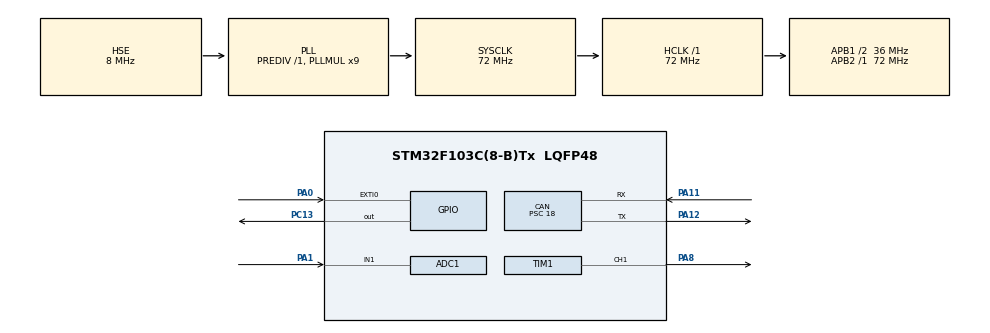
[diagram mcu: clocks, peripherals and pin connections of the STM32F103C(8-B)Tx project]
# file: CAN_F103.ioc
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ADC1.Channel-0\#ChannelRegularConversion=ADC_CHANNEL_1
ADC1.ContinuousConvMode=ENABLE
ADC1.NbrOfConversionFlag=1
ADC1.Rank-0\#ChannelRegularConversion=1
ADC1.SamplingTime-0\#ChannelRegularConversion=ADC_SAMPLETIME_1CYCLE_5
ADC1.master=1
CAN.BS1=CAN_BS1_5TQ
CAN.BS2=CAN_BS2_2TQ
CAN.CalculateBaudRate=250000
CAN.CalculateTimeBit=4000
CAN.CalculateTimeQuantum=500.0
CAN.Prescaler=18
Mcu.Family=STM32F1
Mcu.Name=STM32F103C(8-B)Tx
Mcu.Package=LQFP48
NVIC.EXTI0_IRQn=true\:0\:0\:false\:false\:true\:true\:true\:true
NVIC.PriorityGroup=NVIC_PRIORITYGROUP_0
NVIC.USB_LP_CAN1_RX0_IRQn=true\:0\:1\:false\:false\:true\:true\:true\:true
PA0-WKUP.Signal=GPXTI0
PA1.Signal=ADCx_IN1
PA11.Mode=CAN_Activate
PA11.Signal=CAN_RX
PA12.Mode=CAN_Activate
PA12.Signal=CAN_TX
PA13.Mode=Serial_Wire
PA13.Signal=SYS_JTMS-SWDIO
PA14.Mode=Serial_Wire
PA14.Signal=SYS_JTCK-SWCLK
PA8.Signal=S_TIM1_CH1
PC13-TAMPER-RTC.Signal=GPIO_Output
PD0-OSC_IN.Mode=HSE-External-Oscillator
PD0-OSC_IN.Signal=RCC_OSC_IN
PD1-OSC_OUT.Mode=HSE-External-Oscillator
PD1-OSC_OUT.Signal=RCC_OSC_OUT
ProjectManager.HeapSize=0x200
ProjectManager.StackSize=0x400
ProjectManager.TargetToolchain=STM32CubeIDE
RCC.AHBFreq_Value=72000000
RCC.APB1CLKDivider=RCC_HCLK_DIV2
RCC.APB1Freq_Value=36000000
RCC.APB1TimFreq_Value=72000000
RCC.APB2Freq_Value=72000000
RCC.APB2TimFreq_Value=72000000
RCC.HCLKFreq_Value=72000000
RCC.PLLMUL=RCC_PLL_MUL9
RCC.PLLSourceVirtual=RCC_PLLSOURCE_HSE
RCC.SYSCLKFreq_VALUE=72000000
RCC.SYSCLKSource=RCC_SYSCLKSOURCE_PLLCLK
RCC.USBFreq_Value=72000000
SH.ADCx_IN1.0=ADC1_IN1,IN1
SH.S_TIM1_CH1.0=TIM1_CH1,PWM Generation1 CH1
TIM1.Channel-PWM\ Generation1\ CH1=TIM_CHANNEL_1
TIM1.Period=999
TIM1.Prescaler=71
board=custom

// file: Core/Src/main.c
/* USER CODE BEGIN Header */
/**
  ******************************************************************************
  * @file           : main.c
  * @brief          : Main program body
  ******************************************************************************
  * @attention
  *
  * Copyright (c) 2024 STMicroelectronics.
  * All rights reserved.
  *
  * This software is licensed under terms that can be found in the LICENSE file
  * in the root directory of this software component.
  * If no LICENSE file comes with this software, it is provided AS-IS.
  *
  ******************************************************************************
  */
/* USER CODE END Header */
#include "main.h"

ADC_HandleTypeDef hadc1;

CAN_HandleTypeDef hcan;

TIM_HandleTypeDef htim1;

/* USER CODE BEGIN PV */

CAN_TxHeaderTypeDef pTXHeader;
CAN_RxHeaderTypeDef pRXHeader;
CAN_FilterTypeDef sfilterconfig;
uint32_t pTxMailbox;
uint8_t count;
uint16_t rcount;
uint8_t adc_value[1]={0};
uint8_t deger=0;
int durum;
int durum2;

uint16_t adcValue = 0;
uint8_t adcValueHigh = 0;
uint8_t adcValueLow = 0;
uint8_t data[8]; // CAN mesajı veri alanı
/* USER CODE END PV */

void SystemClock_Config(void);
static void MX_GPIO_Init(void);
static void MX_CAN_Init(void);
static void MX_ADC1_Init(void);
static void MX_TIM1_Init(void);

/* USER CODE BEGIN 0 */
void Set_PWM_Duty(uint16_t duty) {
    // 0-255 arası gelen duty değerini 0-999 arası bir değere dönüştür
    uint16_t pulse_length = ((uint32_t)duty * 1000) / 4095; //1khz lik ve 12 bit adc olduğu için pwm değerini ayarlıyor
    TIM1->CCR1 = pulse_length; //değer setlendi
}
/* USER CODE END 0 */

int main(void)
{

  /* MCU Configuration--------------------------------------------------------*/

  /* Reset of all peripherals, Initializes the Flash interface and the Systick. */
  HAL_Init();

  /* Configure the system clock */
  SystemClock_Config();

  /* Initialize all configured peripherals */
  MX_GPIO_Init();
  MX_CAN_Init();
  MX_ADC1_Init();
  MX_TIM1_Init();
  /* USER CODE BEGIN 2 */

	HAL_GPIO_WritePin(GPIOC, GPIO_PIN_13, 1);

  //Can baslatildi
  HAL_CAN_Start(&hcan);
  //interrupt için aktif edilme
  HAL_CAN_ActivateNotification(&hcan, CAN_IT_RX_FIFO0_MSG_PENDING); //mesaj geldi mesaj bekleniyor

  pTXHeader.DLC=1;
  pTXHeader.IDE=CAN_ID_STD;
  pTXHeader.RTR=CAN_RTR_DATA;
  pTXHeader.StdId=0x0155;

  sfilterconfig.FilterActivation=ENABLE;
  sfilterconfig.FilterBank=0;
  sfilterconfig.FilterFIFOAssignment=CAN_FILTER_FIFO0;
  sfilterconfig.FilterIdHigh=0x0000;
  sfilterconfig.FilterIdLow=0x0000;
  sfilterconfig.FilterMaskIdHigh=0x0000;
  sfilterconfig.FilterMaskIdLow=0x0000;
  sfilterconfig.FilterMode=CAN_FILTERMODE_IDMASK;
  sfilterconfig.FilterScale=CAN_FILTERSCALE_32BIT;

  HAL_CAN_ConfigFilter(&hcan, &sfilterconfig);
  HAL_TIM_PWM_Start(&htim1, TIM_CHANNEL_1);

  /* USER CODE END 2 */

  /* Infinite loop */
  while (1)
  {

    /* USER CODE BEGIN 3 */
	// HAL_ADC_Start(&hadc1);
 //deger =(uint8_t)(HAL_ADC_GetValue(&hadc1));
	  // ADC değerini okuyun
	  //adcValue = HAL_ADC_GetValue(&hadc1);

	  // 12 bitlik ADC değerini iki 8 bitlik parçaya bölün
	 // adcValueHigh = (adcValue >> 4) & 0xFF; // Yüksek 8 bit 12 bitlik veriyi 8 ve 4 bit paketliyor
	  //adcValueLow = (adcValue & 0x0F) << 4;  // Düşük 4 bit

	  //data[0] = adcValueHigh; //gönderilmesi için değerleri dizide tutuyor
	 // data[1] = adcValueLow;

     // HAL_CAN_AddTxMessage(&hcan, &pTXHeader, data, &pTxMailbox); //bu iki değeri gönderiyor
	  adcValueHigh = data[0]; //okunan data değerleri 8 ve 4 bit olarak toplam 12 bit oluyor
	  adcValueLow = data[1];

	 // 12 bitlik ADC değerini yeniden oluşturun
	 rcount = (adcValueHigh << 4) | (adcValueLow >> 4); // değerleri toplayarak 16 bitlik değeşkene 12 bitlik adc değeri olcak şekilde atıyor

   Set_PWM_Duty(rcount); //pwm fonksiyonuna bu değeri gönderiyor

  }
  /* USER CODE END 3 */
}

void SystemClock_Config(void)
{
  RCC_OscInitTypeDef RCC_OscInitStruct = {0};
  RCC_ClkInitTypeDef RCC_ClkInitStruct = {0};
  RCC_PeriphCLKInitTypeDef PeriphClkInit = {0};

  /** Initializes the RCC Oscillators according to the specified parameters
  * in the RCC_OscInitTypeDef structure.
  */
  RCC_OscInitStruct.OscillatorType = RCC_OSCILLATORTYPE_HSE;
  RCC_OscInitStruct.HSEState = RCC_HSE_ON;
  RCC_OscInitStruct.HSEPredivValue = RCC_HSE_PREDIV_DIV1;
  RCC_OscInitStruct.HSIState = RCC_HSI_ON;
  RCC_OscInitStruct.PLL.PLLState = RCC_PLL_ON;
  RCC_OscInitStruct.PLL.PLLSource = RCC_PLLSOURCE_HSE;
  RCC_OscInitStruct.PLL.PLLMUL = RCC_PLL_MUL9;
  if (HAL_RCC_OscConfig(&RCC_OscInitStruct) != HAL_OK)
  {
    Error_Handler();
  }

  /** Initializes the CPU, AHB and APB buses clocks
  */
  RCC_ClkInitStruct.ClockType = RCC_CLOCKTYPE_HCLK|RCC_CLOCKTYPE_SYSCLK
                              |RCC_CLOCKTYPE_PCLK1|RCC_CLOCKTYPE_PCLK2;
  RCC_ClkInitStruct.SYSCLKSource = RCC_SYSCLKSOURCE_PLLCLK;
  RCC_ClkInitStruct.AHBCLKDivider = RCC_SYSCLK_DIV1;
  RCC_ClkInitStruct.APB1CLKDivider = RCC_HCLK_DIV2;
  RCC_ClkInitStruct.APB2CLKDivider = RCC_HCLK_DIV1;

  if (HAL_RCC_ClockConfig(&RCC_ClkInitStruct, FLASH_LATENCY_2) != HAL_OK)
  {
    Error_Handler();
  }
  PeriphClkInit.PeriphClockSelection = RCC_PERIPHCLK_ADC;
  PeriphClkInit.AdcClockSelection = RCC_ADCPCLK2_DIV2;
  if (HAL_RCCEx_PeriphCLKConfig(&PeriphClkInit) != HAL_OK)
  {
    Error_Handler();
  }
}

static void MX_ADC1_Init(void)
{

  ADC_ChannelConfTypeDef sConfig = {0};

  /** Common config
  */
  hadc1.Instance = ADC1;
  hadc1.Init.ScanConvMode = ADC_SCAN_DISABLE;
  hadc1.Init.ContinuousConvMode = ENABLE;
  hadc1.Init.DiscontinuousConvMode = DISABLE;
  hadc1.Init.ExternalTrigConv = ADC_SOFTWARE_START;
  hadc1.Init.DataAlign = ADC_DATAALIGN_RIGHT;
  hadc1.Init.NbrOfConversion = 1;
  if (HAL_ADC_Init(&hadc1) != HAL_OK)
  {
    Error_Handler();
  }

  /** Configure Regular Channel
  */
  sConfig.Channel = ADC_CHANNEL_1;
  sConfig.Rank = ADC_REGULAR_RANK_1;
  sConfig.SamplingTime = ADC_SAMPLETIME_1CYCLE_5;
  if (HAL_ADC_ConfigChannel(&hadc1, &sConfig) != HAL_OK)
  {
    Error_Handler();
  }

}

static void MX_CAN_Init(void)
{

  hcan.Instance = CAN1;
  hcan.Init.Prescaler = 18;
  hcan.Init.Mode = CAN_MODE_NORMAL;
  hcan.Init.SyncJumpWidth = CAN_SJW_1TQ;
  hcan.Init.TimeSeg1 = CAN_BS1_5TQ;
  hcan.Init.TimeSeg2 = CAN_BS2_2TQ;
  hcan.Init.TimeTriggeredMode = DISABLE;
  hcan.Init.AutoBusOff = DISABLE;
  hcan.Init.AutoWakeUp = DISABLE;
  hcan.Init.AutoRetransmission = DISABLE;
  hcan.Init.ReceiveFifoLocked = DISABLE;
  hcan.Init.TransmitFifoPriority = DISABLE;
  if (HAL_CAN_Init(&hcan) != HAL_OK)
  {
    Error_Handler();
  }

}

static void MX_TIM1_Init(void)
{

  TIM_MasterConfigTypeDef sMasterConfig = {0};
  TIM_OC_InitTypeDef sConfigOC = {0};
  TIM_BreakDeadTimeConfigTypeDef sBreakDeadTimeConfig = {0};

  htim1.Instance = TIM1;
  htim1.Init.Prescaler = 71;
  htim1.Init.CounterMode = TIM_COUNTERMODE_UP;
  htim1.Init.Period = 999;
  htim1.Init.ClockDivision = TIM_CLOCKDIVISION_DIV1;
  htim1.Init.RepetitionCounter = 0;
  htim1.Init.AutoReloadPreload = TIM_AUTORELOAD_PRELOAD_DISABLE;
  if (HAL_TIM_PWM_Init(&htim1) != HAL_OK)
  {
    Error_Handler();
  }
  sMasterConfig.MasterOutputTrigger = TIM_TRGO_RESET;
  sMasterConfig.MasterSlaveMode = TIM_MASTERSLAVEMODE_DISABLE;
  if (HAL_TIMEx_MasterConfigSynchronization(&htim1, &sMasterConfig) != HAL_OK)
  {
    Error_Handler();
  }
  sConfigOC.OCMode = TIM_OCMODE_PWM1;
  sConfigOC.Pulse = 0;
  sConfigOC.OCPolarity = TIM_OCPOLARITY_HIGH;
  sConfigOC.OCNPolarity = TIM_OCNPOLARITY_HIGH;
  sConfigOC.OCFastMode = TIM_OCFAST_DISABLE;
  sConfigOC.OCIdleState = TIM_OCIDLESTATE_RESET;
  sConfigOC.OCNIdleState = TIM_OCNIDLESTATE_RESET;
  if (HAL_TIM_PWM_ConfigChannel(&htim1, &sConfigOC, TIM_CHANNEL_1) != HAL_OK)
  {
    Error_Handler();
  }
  sBreakDeadTimeConfig.OffStateRunMode = TIM_OSSR_DISABLE;
  sBreakDeadTimeConfig.OffStateIDLEMode = TIM_OSSI_DISABLE;
  sBreakDeadTimeConfig.LockLevel = TIM_LOCKLEVEL_OFF;
  sBreakDeadTimeConfig.DeadTime = 0;
  sBreakDeadTimeConfig.BreakState = TIM_BREAK_DISABLE;
  sBreakDeadTimeConfig.BreakPolarity = TIM_BREAKPOLARITY_HIGH;
  sBreakDeadTimeConfig.AutomaticOutput = TIM_AUTOMATICOUTPUT_DISABLE;
  if (HAL_TIMEx_ConfigBreakDeadTime(&htim1, &sBreakDeadTimeConfig) != HAL_OK)
  {
    Error_Handler();
  }
  HAL_TIM_MspPostInit(&htim1);

}

static void MX_GPIO_Init(void)
{
  GPIO_InitTypeDef GPIO_InitStruct = {0};

  /* GPIO Ports Clock Enable */
  __HAL_RCC_GPIOC_CLK_ENABLE();
  __HAL_RCC_GPIOD_CLK_ENABLE();
  __HAL_RCC_GPIOA_CLK_ENABLE();

  /*Configure GPIO pin Output Level */
  HAL_GPIO_WritePin(GPIOC, GPIO_PIN_13, GPIO_PIN_RESET);

  /*Configure GPIO pin : PC13 */
  GPIO_InitStruct.Pin = GPIO_PIN_13;
  GPIO_InitStruct.Mode = GPIO_MODE_OUTPUT_PP;
  GPIO_InitStruct.Pull = GPIO_NOPULL;
  GPIO_InitStruct.Speed = GPIO_SPEED_FREQ_LOW;
  HAL_GPIO_Init(GPIOC, &GPIO_InitStruct);

  /*Configure GPIO pin : PA0 */
  GPIO_InitStruct.Pin = GPIO_PIN_0;
  GPIO_InitStruct.Mode = GPIO_MODE_IT_RISING;
  GPIO_InitStruct.Pull = GPIO_NOPULL;
  HAL_GPIO_Init(GPIOA, &GPIO_InitStruct);

  /* EXTI interrupt init*/
  HAL_NVIC_SetPriority(EXTI0_IRQn, 0, 0);
  HAL_NVIC_EnableIRQ(EXTI0_IRQn);

}

void Error_Handler(void)
{
  __disable_irq();
  while (1)
  {
  }
}
